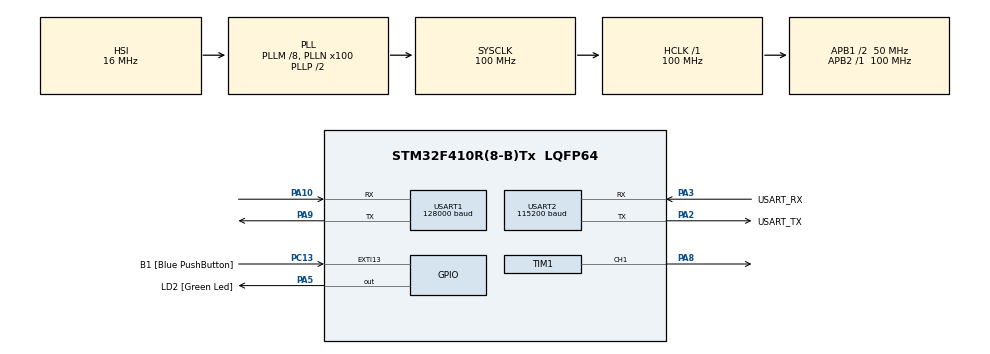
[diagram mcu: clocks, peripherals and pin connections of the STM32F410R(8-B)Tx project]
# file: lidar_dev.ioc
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Dma.Request0=USART1_RX
Dma.Request1=USART2_TX
Dma.USART1_RX.0.Direction=DMA_PERIPH_TO_MEMORY
Dma.USART1_RX.0.FIFOMode=DMA_FIFOMODE_DISABLE
Dma.USART1_RX.0.Instance=DMA2_Stream2
Dma.USART1_RX.0.MemDataAlignment=DMA_MDATAALIGN_BYTE
Dma.USART1_RX.0.MemInc=DMA_MINC_ENABLE
Dma.USART1_RX.0.Mode=DMA_CIRCULAR
Dma.USART1_RX.0.PeriphDataAlignment=DMA_PDATAALIGN_BYTE
Dma.USART1_RX.0.PeriphInc=DMA_PINC_DISABLE
Dma.USART1_RX.0.Priority=DMA_PRIORITY_LOW
Dma.USART2_TX.1.Direction=DMA_MEMORY_TO_PERIPH
Dma.USART2_TX.1.FIFOMode=DMA_FIFOMODE_DISABLE
Dma.USART2_TX.1.Instance=DMA1_Stream6
Dma.USART2_TX.1.MemDataAlignment=DMA_MDATAALIGN_BYTE
Dma.USART2_TX.1.MemInc=DMA_MINC_ENABLE
Dma.USART2_TX.1.Mode=DMA_NORMAL
Dma.USART2_TX.1.PeriphDataAlignment=DMA_PDATAALIGN_BYTE
Dma.USART2_TX.1.PeriphInc=DMA_PINC_DISABLE
Dma.USART2_TX.1.Priority=DMA_PRIORITY_LOW
FREERTOS.Tasks01=defaultTask,0,128,StartDefaultTask,Default,NULL,Dynamic,NULL,NULL
FREERTOS.configCHECK_FOR_STACK_OVERFLOW=1
FREERTOS.configTOTAL_HEAP_SIZE=12000
Mcu.Family=STM32F4
Mcu.Name=STM32F410R(8-B)Tx
Mcu.Package=LQFP64
NVIC.DMA1_Stream6_IRQn=true\:5\:0\:false\:false\:true\:true\:false\:true\:true
NVIC.DMA2_Stream2_IRQn=true\:5\:0\:false\:false\:true\:true\:false\:true\:true
NVIC.EXTI15_10_IRQn=true\:5\:0\:false\:false\:true\:true\:true\:true\:true
NVIC.PriorityGroup=NVIC_PRIORITYGROUP_4
NVIC.TIM6_DAC_IRQn=true\:15\:0\:false\:false\:true\:false\:false\:true\:true
NVIC.TimeBase=TIM6_DAC_IRQn
NVIC.TimeBaseIP=TIM6
NVIC.USART1_IRQn=true\:5\:0\:false\:false\:true\:true\:true\:true\:true
NVIC.USART2_IRQn=true\:5\:0\:false\:false\:true\:true\:true\:true\:true
PA10.Mode=Asynchronous
PA10.Signal=USART1_RX
PA13.GPIO_Label=TMS
PA13.Mode=Serial_Wire
PA13.Signal=SYS_JTMS-SWDIO
PA14.GPIO_Label=TCK
PA14.Mode=Serial_Wire
PA14.Signal=SYS_JTCK-SWCLK
PA2.GPIO_Label=USART_TX
PA2.Mode=Asynchronous
PA2.Signal=USART2_TX
PA3.GPIO_Label=USART_RX
PA3.Mode=Asynchronous
PA3.Signal=USART2_RX
PA5.GPIO_Label=LD2 [Green Led]
PA5.Signal=GPIO_Output
PA8.Signal=S_TIM1_CH1
PA9.Mode=Asynchronous
PA9.Signal=USART1_TX
PB3.GPIO_Label=SWO
PB3.Signal=SYS_JTDO-SWO
PC13-ANTI_TAMP.GPIO_Label=B1 [Blue PushButton]
PC13-ANTI_TAMP.GPIO_ModeDefaultEXTI=GPIO_MODE_IT_FALLING
PC13-ANTI_TAMP.Signal=GPXTI13
PC14-OSC32_IN.Mode=LSE-External-Oscillator
PC14-OSC32_IN.Signal=RCC_OSC32_IN
PC15-OSC32_OUT.Mode=LSE-External-Oscillator
PC15-OSC32_OUT.Signal=RCC_OSC32_OUT
PH0\ -\ OSC_IN.Mode=HSE-External-Clock-Source
PH0\ -\ OSC_IN.Signal=RCC_OSC_IN
PH1\ -\ OSC_OUT.Mode=HSE-External-Clock-Source
PH1\ -\ OSC_OUT.Signal=RCC_OSC_OUT
ProjectManager.HeapSize=0x200
ProjectManager.StackSize=0x400
ProjectManager.TargetToolchain=STM32CubeIDE
RCC.48MHZClocksFreq_Value=50000000
RCC.AHBFreq_Value=100000000
RCC.APB1CLKDivider=RCC_HCLK_DIV2
RCC.APB1Freq_Value=50000000
RCC.APB1TimFreq_Value=100000000
RCC.APB2Freq_Value=100000000
RCC.APB2TimFreq_Value=100000000
RCC.CortexFreq_Value=100000000
RCC.FLatency-AdvancedSettings=FLASH_LATENCY_3
RCC.HCLKFreq_Value=100000000
RCC.HSE_VALUE=8000000
RCC.HSI_VALUE=16000000
RCC.PLLM=8
RCC.PLLN=100
RCC.SYSCLKFreq_VALUE=100000000
RCC.SYSCLKSource=RCC_SYSCLKSOURCE_PLLCLK
RCC.VCOOutputFreq_Value=200000000
SH.S_TIM1_CH1.0=TIM1_CH1,PWM Generation1 CH1
TIM1.AutoReloadPreload=TIM_AUTORELOAD_PRELOAD_ENABLE
TIM1.Channel-PWM\ Generation1\ CH1=TIM_CHANNEL_1
TIM1.Period=100-1
TIM1.Prescaler=84-1
USART1.BaudRate=128000
USART1.VirtualMode=VM_ASYNC
USART2.BaudRate=115200
USART2.VirtualMode=VM_ASYNC
VP_FREERTOS_VS_CMSIS_V1.Mode=CMSIS_V1
VP_SYS_VS_tim6.Mode=TIM6
VP_TIM1_VS_ClockSourceINT.Mode=Internal
board=NUCLEO-F410RB

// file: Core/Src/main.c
/* USER CODE BEGIN Header */
/**
 ******************************************************************************
 * @file           : main.c
 * @brief          : Main program body
 ******************************************************************************
 * @attention
 *
 * Copyright (c) 2023 STMicroelectronics.
 * All rights reserved.
 *
 * This software is licensed under terms that can be found in the LICENSE file
 * in the root directory of this software component.
 * If no LICENSE file comes with this software, it is provided AS-IS.
 *
 ******************************************************************************
 */
/* USER CODE END Header */
#include "main.h"
#include "cmsis_os.h"
#include "dma.h"
#include "tim.h"
#include "usart.h"
#include "gpio.h"

/* USER CODE BEGIN Includes */
#include "ydlidar_x4.h"
#include "stdio.h"
/* USER CODE END Includes */

/* USER CODE BEGIN PD */
#define DEFAULT_STACK_SIZE 512
#define DEFAULT_TASK_PRIORITY 1
#define DEFAULT_LIDAR_SPEED 85
/* USER CODE END PD */

/* USER CODE BEGIN PV */
TaskHandle_t h_task_lidar_ISR = NULL;
TaskHandle_t h_task_BTN_ISR = NULL;
TaskHandle_t h_task_BT_and_Wire_RX_ISR = NULL;

SemaphoreHandle_t lidar_RX_semaphore;
SemaphoreHandle_t stm_RX_semaphore;
SemaphoreHandle_t BTN_STATUS_semaphore;

BaseType_t ret;

h_ydlidar_x4_t lidar;

uint8_t string_display[720];
uint8_t rx_pc = 0xFF;
/* USER CODE END PV */

void SystemClock_Config(void);
void MX_FREERTOS_Init(void);
/* USER CODE BEGIN PFP */

void vApplicationStackOverflowHook( TaskHandle_t xTask, signed char *pcTaskName ){
	TaskHandle_t overflowed_task = xTask;
	signed char * pcTask = pcTaskName;
}

void HAL_UART_RxCpltCallback(UART_HandleTypeDef * huart){
	BaseType_t xHigherPriorityTaskToken = pdFALSE;
	if(huart->Instance == USART1){
		xSemaphoreGiveFromISR(lidar_RX_semaphore, &xHigherPriorityTaskToken);
	}
	if(huart->Instance == USART2){
		xSemaphoreGiveFromISR(stm_RX_semaphore, &xHigherPriorityTaskToken);
	}
	portYIELD_FROM_ISR(xHigherPriorityTaskToken);
}

void HAL_UART_RxHalfCpltCallback(UART_HandleTypeDef *huart)
{
	BaseType_t xHigherPriorityTaskToken = pdFALSE;
	if(huart->Instance == USART1){
		xSemaphoreGiveFromISR(lidar_RX_semaphore, &xHigherPriorityTaskToken);
	}
	portYIELD_FROM_ISR(xHigherPriorityTaskToken);

}

int lidar_uart_transmit(uint8_t *p_data, uint16_t size)
{
	HAL_UART_Transmit(&huart1,p_data, size, HAL_MAX_DELAY);
	return 0;
}

int lidar_uart_receive(uint8_t *p_data)
{
	HAL_UART_Receive_DMA(&huart1,p_data, LIDAR2DMA_SIZE);
	return 0;
}

void HAL_GPIO_EXTI_Callback(uint16_t GPIO_Pin)
{
	BaseType_t xHigherPriorityTaskToken = pdFALSE;
	if(GPIO_Pin == B1_Pin) {
		xSemaphoreGiveFromISR(BTN_STATUS_semaphore, &xHigherPriorityTaskToken);
	}
	portYIELD_FROM_ISR(xHigherPriorityTaskToken);
}

void task_lidar_ISR(void * unused)
{
	printf("Task lidar ISR ok\r\n");
	for(;;){
		xSemaphoreTake(lidar_RX_semaphore, portMAX_DELAY);
		ydlidar_x4_irq_cb(&lidar);
	}
}

void task_BT_and_Wire_RX_ISR(void * unused)
{
	printf("Task lidar ISR ok\r\n");
	HAL_UART_Receive_IT(&huart2, &rx_pc, 1);
	int packet = 0;
	for(;;){
		xSemaphoreTake(stm_RX_semaphore, portMAX_DELAY);
		if(rx_pc == 0xAA){
			rx_pc = 0xFF;
			int i=0;
			for(;i<36;i++){
				if(i%2 == 0){
					string_display[i+packet] = (lidar.sorted_dist[(i+packet)>>1])>>8;
				}else{
					string_display[i+packet] = (lidar.sorted_dist[(i+packet)>>1]) & 0x00FF;
				}
			}
			packet+=i;
			HAL_UART_Transmit_DMA(&huart2,&string_display[packet-36], 36);
			if(packet >= 720){
				packet = 0;
			}
			HAL_UART_Receive_IT(&huart2, &rx_pc, 1);
		}
	}
}

void task_BTN_ISR(void * unused)
{
	printf("Task BTN ok\r\n");
	for(;;){
		xSemaphoreTake(BTN_STATUS_semaphore, portMAX_DELAY);
		ydlidar_x4_scan(&lidar);
		HAL_GPIO_TogglePin(LD2_GPIO_Port, LD2_Pin);
	}
}

/* USER CODE END PFP */

int main(void)
{

  /* MCU Configuration--------------------------------------------------------*/

  /* Reset of all peripherals, Initializes the Flash interface and the Systick. */
  HAL_Init();

  /* Configure the system clock */
  SystemClock_Config();

  /* Initialize all configured peripherals */
  MX_GPIO_Init();
  MX_DMA_Init();
  MX_USART2_UART_Init();
  MX_TIM1_Init();
  MX_USART1_UART_Init();
  /* USER CODE BEGIN 2 */
	printf("Task lidar ok\r\n");

	lidar.serial_drv.transmit = lidar_uart_transmit;
	lidar.serial_drv.receive = lidar_uart_receive;

	ydlidar_x4_init(&lidar);

	stm_RX_semaphore = xSemaphoreCreateBinary();
	lidar_RX_semaphore = xSemaphoreCreateBinary();
	BTN_STATUS_semaphore = xSemaphoreCreateBinary();

	ret = xTaskCreate(task_lidar_ISR, "task_lidar_ISR", DEFAULT_STACK_SIZE, NULL, DEFAULT_TASK_PRIORITY+1, &h_task_lidar_ISR);
	if(ret != pdPASS)
	{
		printf("Could not create task lidar ISR \r\n");
		Error_Handler();
	}
	ret = xTaskCreate(task_BTN_ISR, "task_BTN_ISR", DEFAULT_STACK_SIZE, NULL, DEFAULT_TASK_PRIORITY, &h_task_BTN_ISR);
	if(ret != pdPASS)
	{
		printf("Could not create task BTN ISR \r\n");
		Error_Handler();
	}
	ret = xTaskCreate(task_BT_and_Wire_RX_ISR, "task_BT_and_Wire_RX_ISR", DEFAULT_STACK_SIZE, NULL, DEFAULT_TASK_PRIORITY, &h_task_BT_and_Wire_RX_ISR);
	if(ret != pdPASS)
	{
		printf("Could not create task BT ISR \r\n");
		Error_Handler();
	}
	vTaskStartScheduler();
  /* USER CODE END 2 */

  /* Call init function for freertos objects (in freertos.c) */
  MX_FREERTOS_Init();

  /* Start scheduler */
  osKernelStart();

  /* We should never get here as control is now taken by the scheduler */
  /* Infinite loop */
	while (1)
	{

	}
}

void SystemClock_Config(void)
{
  RCC_OscInitTypeDef RCC_OscInitStruct = {0};
  RCC_ClkInitTypeDef RCC_ClkInitStruct = {0};

  /** Configure the main internal regulator output voltage
  */
  __HAL_RCC_PWR_CLK_ENABLE();
  __HAL_PWR_VOLTAGESCALING_CONFIG(PWR_REGULATOR_VOLTAGE_SCALE1);

  /** Initializes the RCC Oscillators according to the specified parameters
  * in the RCC_OscInitTypeDef structure.
  */
  RCC_OscInitStruct.OscillatorType = RCC_OSCILLATORTYPE_HSI;
  RCC_OscInitStruct.HSIState = RCC_HSI_ON;
  RCC_OscInitStruct.HSICalibrationValue = RCC_HSICALIBRATION_DEFAULT;
  RCC_OscInitStruct.PLL.PLLState = RCC_PLL_ON;
  RCC_OscInitStruct.PLL.PLLSource = RCC_PLLSOURCE_HSI;
  RCC_OscInitStruct.PLL.PLLM = 8;
  RCC_OscInitStruct.PLL.PLLN = 100;
  RCC_OscInitStruct.PLL.PLLP = RCC_PLLP_DIV2;
  RCC_OscInitStruct.PLL.PLLQ = 4;
  RCC_OscInitStruct.PLL.PLLR = 2;
  if (HAL_RCC_OscConfig(&RCC_OscInitStruct) != HAL_OK)
  {
    Error_Handler();
  }

  /** Initializes the CPU, AHB and APB buses clocks
  */
  RCC_ClkInitStruct.ClockType = RCC_CLOCKTYPE_HCLK|RCC_CLOCKTYPE_SYSCLK
                              |RCC_CLOCKTYPE_PCLK1|RCC_CLOCKTYPE_PCLK2;
  RCC_ClkInitStruct.SYSCLKSource = RCC_SYSCLKSOURCE_PLLCLK;
  RCC_ClkInitStruct.AHBCLKDivider = RCC_SYSCLK_DIV1;
  RCC_ClkInitStruct.APB1CLKDivider = RCC_HCLK_DIV2;
  RCC_ClkInitStruct.APB2CLKDivider = RCC_HCLK_DIV1;

  if (HAL_RCC_ClockConfig(&RCC_ClkInitStruct, FLASH_LATENCY_3) != HAL_OK)
  {
    Error_Handler();
  }
}

void HAL_TIM_PeriodElapsedCallback(TIM_HandleTypeDef *htim)
{
  if (htim->Instance == TIM6) {
    HAL_IncTick();
  }
}

void Error_Handler(void)
{
	__disable_irq();
	while (1)
	{
	}
}
